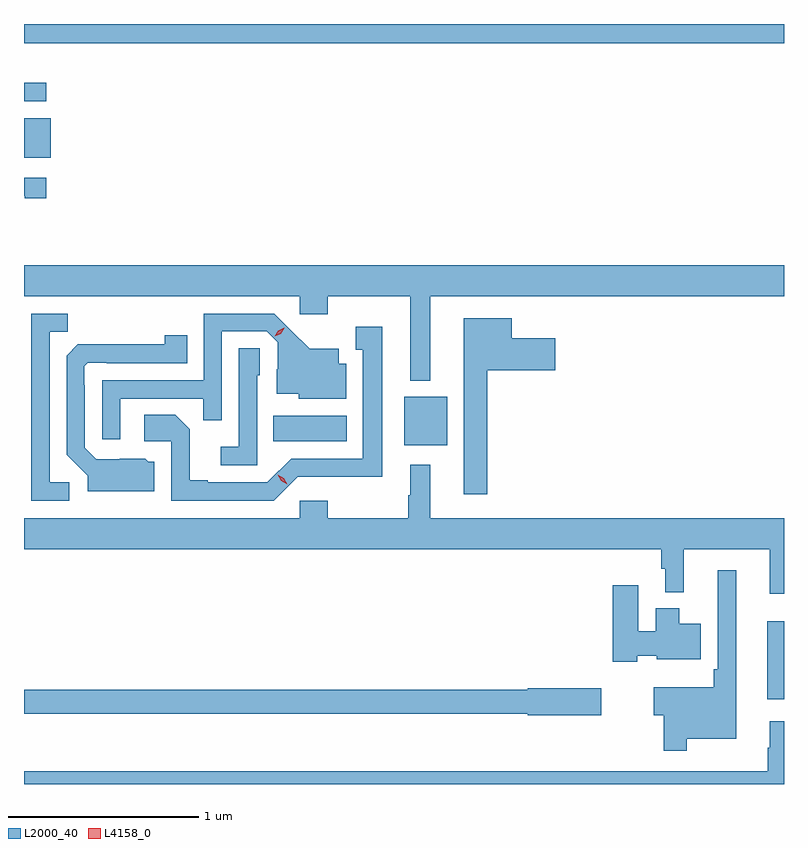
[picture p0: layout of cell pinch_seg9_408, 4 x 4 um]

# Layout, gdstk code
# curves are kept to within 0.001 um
import gdstk
lib = gdstk.Library(unit=1e-6, precision=1e-09)
def R(c, l, rs):  # rectangles x0, y0, x1, y1
    for r in rs: c.add(gdstk.rectangle(r[:2], r[2:], *l))
def P(c, l, *ps):  # polygons
    for p in ps: c.add(gdstk.Polygon(p, *l))
L2000_40 = (2000, 40)
L4158_0 = (4158, 0)

pinch_seg9_408 = lib.new_cell('pinch_seg9_408')
R(pinch_seg9_408, L2000_40, [(230.543,1234.259,230.632,1234.669), (228.632,1235.597,228.859,1235.851), (227.944,1235.618,228.331,1235.752), (226.632,1237.109,226.774,1237.318), (226.632,1237.407,226.75,1237.503), (226.632,1237.712,230.632,1237.813)])
P(pinch_seg9_408, L2000_40, [(226.75,1237.005),(226.632,1237.005),(226.632,1236.909),(226.637,1236.909),(226.637,1236.897),(226.75,1236.897)],
  [(228.769,1236.38),(230.632,1236.38),(230.632,1236.544),(226.632,1236.544),(226.632,1236.38),(228.084,1236.38),(228.084,1236.285),(228.231,1236.285),(228.231,1236.38),(228.665,1236.38),(228.665,1235.936),(228.769,1235.936)],
  [(226.87,1235.4),(226.767,1235.4),(226.767,1236.193),(226.863,1236.193),(226.863,1236.288),(226.671,1236.288),(226.671,1235.304),(226.87,1235.304)],
  [(227.139,1235.841),(227.575,1235.841),(227.575,1235.728),(227.673,1235.728),(227.673,1236.195),(227.91,1236.195),(227.967,1236.138),(227.967,1235.996),(227.963,1235.996),(227.963,1235.867),(228.078,1235.867),(228.078,1235.84),(228.328,1235.84),(228.328,1236.025),(228.289,1236.025),(228.289,1236.103),(228.137,1236.103),(227.95,1236.288),(227.577,1236.288),(227.577,1235.937),(227.043,1235.937),(227.043,1235.628),(227.139,1235.628)],
  [(229.069,1235.99),(229.429,1235.99),(229.429,1236.16),(229.198,1236.16),(229.198,1236.265),(228.947,1236.265),(228.947,1235.337),(229.069,1235.337)],
  [(228.072,1235.43),(228.517,1235.429),(228.517,1236.22),(228.377,1236.22),(228.377,1236.099),(228.416,1236.099),(228.416,1235.526),(228.039,1235.526),(227.913,1235.4),(227.599,1235.4),(227.599,1235.413),(227.505,1235.413),(227.505,1235.68),(227.429,1235.756),(227.265,1235.756),(227.265,1235.616),(227.406,1235.616),(227.406,1235.304),(227.946,1235.304)],
  [(227.317,1235.508),(227.286,1235.508),(227.27,1235.524),(227.013,1235.523),(226.953,1235.583),(226.953,1235.912),(226.95,1235.912),(226.95,1236.012),(226.968,1236.03),(227.068,1236.03),(227.068,1236.027),(227.492,1236.027),(227.492,1236.175),(227.374,1236.175),(227.374,1236.128),(226.916,1236.127),(226.857,1236.068),(226.857,1235.546),(226.967,1235.436),(226.967,1235.354),(227.317,1235.354)],
  [(227.859,1235.964),(227.874,1235.964),(227.874,1236.107),(227.763,1236.107),(227.763,1235.587),(227.667,1235.587),(227.667,1235.49),(227.859,1235.49)],
  [(230.632,1235.212),(228.769,1235.212),(228.769,1235.494),(228.665,1235.494),(228.665,1235.333),(228.655,1235.333),(228.655,1235.212),(228.231,1235.212),(228.231,1235.305),(228.084,1235.305),(228.084,1235.212),(226.632,1235.212),(226.632,1235.048),(229.987,1235.048),(229.987,1234.945),(230.006,1234.945),(230.006,1234.823),(230.105,1234.823),(230.105,1235.048),(230.558,1235.048),(230.558,1234.815),(230.632,1234.815)],
  [(230.119,1234.052),(230.38,1234.052),(230.38,1234.939),(230.283,1234.939),(230.283,1234.417),(230.263,1234.417),(230.263,1234.321),(229.946,1234.321),(229.946,1234.174),(229.998,1234.174),(229.998,1233.987),(230.119,1233.987)],
  [(229.86,1234.487),(229.962,1234.487),(229.962,1234.469),(230.194,1234.469),(230.194,1234.657),(230.08,1234.657),(230.08,1234.738),(229.958,1234.738),(229.958,1234.617),(229.864,1234.617),(229.864,1234.858),(229.73,1234.858),(229.73,1234.457),(229.86,1234.457)],
  [(229.669,1234.316),(229.284,1234.316),(229.284,1234.31),(226.632,1234.31),(226.632,1234.182),(229.284,1234.182),(229.284,1234.174),(229.669,1234.174)],
  [(230.632,1234.144),(230.558,1234.144),(230.558,1234.004),(230.547,1234.004),(230.547,1233.88),(226.632,1233.88),(226.632,1233.813),(230.632,1233.813)])
P(pinch_seg9_408, L4158_0, [(228.017,1235.39),(227.985,1235.409),(227.968,1235.441),(227.968,1235.441),(227.968,1235.441),(228,1235.422),(228.017,1235.39),(228.017,1235.39)],
  [(227.952,1236.169),(227.952,1236.17),(227.97,1236.199),(228.001,1236.214),(228.001,1236.214),(228.001,1236.213),(227.983,1236.184),(227.952,1236.169)])

lib.write_gds('pinch_seg9_408.gds')
